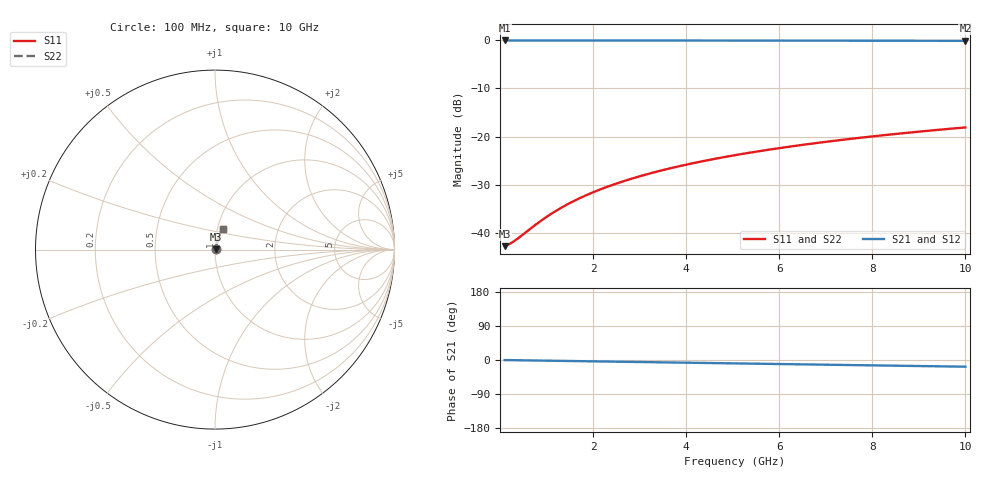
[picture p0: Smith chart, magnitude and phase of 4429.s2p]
# Hz S RI R 50.00
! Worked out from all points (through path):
!   100 points, 100 MHz to 10 GHz, reference 50 ohm
!   highest |S21| = -0.06 dB at 100 MHz (marker M1); lowest = -0.1 dB at 10 GHz (marker M2)
!   group delay of S21, straight-line fit = 4.91 ps
!   lowest |S11| = -42.7 dB at 100 MHz (marker M3), VSWR 1.01, Z = 50.7 + j0.127 ohm
!   |S11| at or under -10 dB: start of sweep to end of sweep
!   |S22| runs from -42.7 to -18.1 dB; largest |S21 - S12| = 0
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1e8  0.00721 0.00125  0.9928 -0.00307  0.9928 -0.00307  0.00721 0.00125
2e8  0.00726 0.00249  0.9927 -0.00615  0.9927 -0.00615  0.00726 0.00249
3e8  0.00732 0.00374  0.9927 -0.00922  0.9927 -0.00922  0.00732 0.00374
4e8  0.00737 0.00499  0.9926 -0.0123  0.9926 -0.0123  0.00737 0.00499
8e8  0.00764 0.00997  0.9922 -0.0246  0.9922 -0.0246  0.00764 0.00997
1.1e9  0.0079 0.0137  0.9919 -0.0338  0.9919 -0.0338  0.0079 0.0137
1.4e9  0.00823 0.0174  0.9914 -0.043  0.9914 -0.043  0.00823 0.0174
1.6e9  0.00848 0.0199  0.9911 -0.0491  0.9911 -0.0491  0.00848 0.0199
1.8e9  0.00876 0.0224  0.9907 -0.0553  0.9907 -0.0553  0.00876 0.0224
2.1e9  0.00924 0.0261  0.99 -0.0645  0.99 -0.0645  0.00924 0.0261
2.5e9  0.00998 0.031  0.9889 -0.0767  0.9889 -0.0767  0.00998 0.031
2.9e9  0.0108 0.0359  0.9877 -0.0889  0.9877 -0.0889  0.0108 0.0359
3.4e9  0.0121 0.042  0.9859 -0.1041  0.9859 -0.1041  0.0121 0.042
3.8e9  0.0132 0.0468  0.9843 -0.1163  0.9843 -0.1163  0.0132 0.0468
4.2e9  0.0145 0.0516  0.9825 -0.1284  0.9825 -0.1284  0.0145 0.0516
4.6e9  0.0158 0.0564  0.9805 -0.1405  0.9805 -0.1405  0.0158 0.0564
5.1e9  0.0177 0.0623  0.9778 -0.1555  0.9778 -0.1555  0.0177 0.0623
5.9e9  0.0211 0.0717  0.973 -0.1795  0.973 -0.1795  0.0211 0.0717
6.7e9  0.0249 0.0808  0.9675 -0.2032  0.9675 -0.2032  0.0249 0.0808
7.5e9  0.0291 0.0897  0.9613 -0.2268  0.9613 -0.2268  0.0291 0.0897
8.4e9  0.0344 0.0995  0.9535 -0.253  0.9535 -0.253  0.0344 0.0995
1e10  0.0451 0.116  0.9378 -0.2987  0.9378 -0.2987  0.0451 0.116
